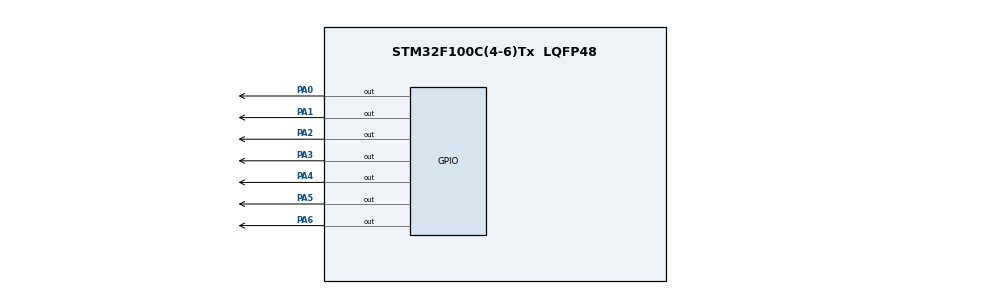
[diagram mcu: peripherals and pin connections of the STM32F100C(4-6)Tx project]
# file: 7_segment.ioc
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Mcu.Family=STM32F1
Mcu.Name=STM32F100C(4-6)Tx
Mcu.Package=LQFP48
NVIC.PriorityGroup=NVIC_PRIORITYGROUP_4
PA0-WKUP.Signal=GPIO_Output
PA1.Signal=GPIO_Output
PA2.Signal=GPIO_Output
PA3.Signal=GPIO_Output
PA4.Signal=GPIO_Output
PA5.Signal=GPIO_Output
PA6.Signal=GPIO_Output
ProjectManager.HeapSize=0x200
ProjectManager.StackSize=0x400
ProjectManager.TargetToolchain=STM32CubeIDE
RCC.APB1Freq_Value=8000000
RCC.APB2Freq_Value=8000000
VP_SYS_VS_ND.Mode=No_Debug
board=custom

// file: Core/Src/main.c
/* USER CODE BEGIN Header */
/**
  ******************************************************************************
  * @file           : main.c
  * @brief          : Main program body
  ******************************************************************************
  * @attention
  *
  * <h2><center>&copy; Copyright (c) 2026 STMicroelectronics.
  * All rights reserved.</center></h2>
  *
  * This software component is licensed by ST under BSD 3-Clause license,
  * the "License"; You may not use this file except in compliance with the
  * License. You may obtain a copy of the License at:
  *                        opensource.org/licenses/BSD-3-Clause
  *
  ******************************************************************************
  */
/* USER CODE END Header */

#include "main.h"

void SystemClock_Config(void);
static void MX_GPIO_Init(void);
/* USER CODE BEGIN PFP */

static void disp_func(unsigned char );

/* USER CODE END PFP */

int main(void)
{
  /* USER CODE BEGIN 1 */

	uint8_t i;

  /* USER CODE END 1 */

  /* MCU Configuration--------------------------------------------------------*/

  /* Reset of all peripherals, Initializes the Flash interface and the Systick. */
  HAL_Init();

  /* Configure the system clock */
  SystemClock_Config();

  /* Initialize all configured peripherals */
  MX_GPIO_Init();

  /* Infinite loop */
  while (1)
  {

	  for(i=0;i<=16;i++)
	  {
		  disp_func(i);
		  HAL_Delay(500);
	  }

  }
}

void SystemClock_Config(void)
{
  RCC_OscInitTypeDef RCC_OscInitStruct = {0};
  RCC_ClkInitTypeDef RCC_ClkInitStruct = {0};

  /** Initializes the CPU, AHB and APB busses clocks
  */
  RCC_OscInitStruct.OscillatorType = RCC_OSCILLATORTYPE_HSI;
  RCC_OscInitStruct.HSIState = RCC_HSI_ON;
  RCC_OscInitStruct.HSICalibrationValue = RCC_HSICALIBRATION_DEFAULT;
  RCC_OscInitStruct.PLL.PLLState = RCC_PLL_NONE;
  if (HAL_RCC_OscConfig(&RCC_OscInitStruct) != HAL_OK)
  {
    Error_Handler();
  }
  /** Initializes the CPU, AHB and APB busses clocks
  */
  RCC_ClkInitStruct.ClockType = RCC_CLOCKTYPE_HCLK|RCC_CLOCKTYPE_SYSCLK
                              |RCC_CLOCKTYPE_PCLK1|RCC_CLOCKTYPE_PCLK2;
  RCC_ClkInitStruct.SYSCLKSource = RCC_SYSCLKSOURCE_HSI;
  RCC_ClkInitStruct.AHBCLKDivider = RCC_SYSCLK_DIV1;
  RCC_ClkInitStruct.APB1CLKDivider = RCC_HCLK_DIV1;
  RCC_ClkInitStruct.APB2CLKDivider = RCC_HCLK_DIV1;

  if (HAL_RCC_ClockConfig(&RCC_ClkInitStruct, FLASH_LATENCY_0) != HAL_OK)
  {
    Error_Handler();
  }
}

static void MX_GPIO_Init(void)
{
  GPIO_InitTypeDef GPIO_InitStruct = {0};

  /* GPIO Ports Clock Enable */
  __HAL_RCC_GPIOA_CLK_ENABLE();

  /*Configure GPIO pin Output Level */
  HAL_GPIO_WritePin(GPIOA, GPIO_PIN_0|GPIO_PIN_1|GPIO_PIN_2|GPIO_PIN_3
                          |GPIO_PIN_4|GPIO_PIN_5|GPIO_PIN_6, GPIO_PIN_RESET);

  /*Configure GPIO pins : PA0 PA1 PA2 PA3
                           PA4 PA5 PA6 */
  GPIO_InitStruct.Pin = GPIO_PIN_0|GPIO_PIN_1|GPIO_PIN_2|GPIO_PIN_3
                          |GPIO_PIN_4|GPIO_PIN_5|GPIO_PIN_6;
  GPIO_InitStruct.Mode = GPIO_MODE_OUTPUT_PP;
  GPIO_InitStruct.Pull = GPIO_NOPULL;
  GPIO_InitStruct.Speed = GPIO_SPEED_FREQ_LOW;
  HAL_GPIO_Init(GPIOA, &GPIO_InitStruct);

}

/* USER CODE BEGIN 4 */

static void disp_func(unsigned char var1)
{
	unsigned char disp_arr[] = {0x3F, 0x06, 0x5B, 0x4F, 0x66, 0x6D, 0x7D, 0x07, 0x7F, 0x6F, 0x77, 0x7C, 0x39, 0x5E, 0x79, 0x71};
	unsigned char bit_var , var2;

	var2 = disp_arr[var1 - 1];							// Index starts from the 0
	bit_var = (var2) & 0x01;							// Keeping LSB and masking other bits
	HAL_GPIO_WritePin(GPIOA, GPIO_PIN_0, bit_var);

	bit_var = (var2>>1) & 0x01;
	HAL_GPIO_WritePin(GPIOA, GPIO_PIN_1, bit_var);

	bit_var = (var2>>2) & 0x01;
	HAL_GPIO_WritePin(GPIOA, GPIO_PIN_2, bit_var);

	bit_var = (var2>>3) & 0x01;
	HAL_GPIO_WritePin(GPIOA, GPIO_PIN_3, bit_var);

	bit_var = (var2>>4) & 0x01;
	HAL_GPIO_WritePin(GPIOA, GPIO_PIN_4, bit_var);

	bit_var = (var2>>5) & 0x01;
	HAL_GPIO_WritePin(GPIOA, GPIO_PIN_5, bit_var);

	bit_var = (var2>>6) & 0x01;
	HAL_GPIO_WritePin(GPIOA, GPIO_PIN_6, bit_var);

}

/* USER CODE END 4 */

void Error_Handler(void)
{
}

/************************ (C) COPYRIGHT STMicroelectronics *****END OF FILE****/
